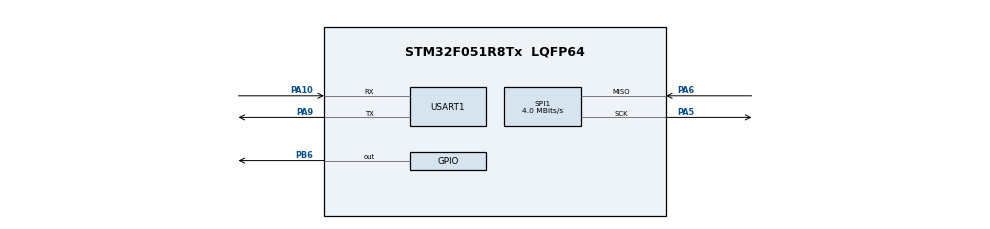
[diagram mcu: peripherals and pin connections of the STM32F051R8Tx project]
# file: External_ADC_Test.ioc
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Mcu.Family=STM32F0
Mcu.Name=STM32F051R8Tx
Mcu.Package=LQFP64
PA0.Signal=SharedAnalog_PA0
PA10.Mode=Asynchronous
PA10.Signal=USART1_RX
PA5.Mode=RX_Only_Simplex_Unidirect_Master
PA5.Signal=SPI1_SCK
PA6.Mode=RX_Only_Simplex_Unidirect_Master
PA6.Signal=SPI1_MISO
PA9.Mode=Asynchronous
PA9.Signal=USART1_TX
PB6.Signal=GPIO_Output
ProjectManager.HeapSize=0x200
ProjectManager.StackSize=0x400
ProjectManager.TargetToolchain=STM32CubeIDE
SH.SharedAnalog_PA0.0=COMP1_INM
SH.SharedAnalog_PA0.1=ADC_IN0
SPI1.CalculateBaudRate=4.0 MBits/s
SPI1.DataSize=SPI_DATASIZE_16BIT
SPI1.Direction=SPI_DIRECTION_2LINES_RXONLY
SPI1.Mode=SPI_MODE_MASTER
SPI1.VirtualType=VM_MASTER
USART1.VirtualMode-Asynchronous=VM_ASYNC
board=custom

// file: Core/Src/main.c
/* USER CODE BEGIN Header */
/**
  ******************************************************************************
  * @file           : main.c
  * @brief          : Main program body
  ******************************************************************************
  * @attention
  *
  * Copyright (c) 2023 STMicroelectronics.
  * All rights reserved.
  *
  * This software is licensed under terms that can be found in the LICENSE file
  * in the root directory of this software component.
  * If no LICENSE file comes with this software, it is provided AS-IS.
  *
  ******************************************************************************
  */
/* USER CODE END Header */
#include "main.h"

/* USER CODE BEGIN Includes */
#include <stdio.h>
#include <stdlib.h>
#include <string.h>
/* USER CODE END Includes */

SPI_HandleTypeDef hspi1;

UART_HandleTypeDef huart1;

void SystemClock_Config(void);
static void MX_GPIO_Init(void);
static void MX_SPI1_Init(void);
static void MX_USART1_UART_Init(void);

int main(void)
{
  /* USER CODE BEGIN 1 */

	const int WRITE = 0x1;
	char rawdatachar[10];
	int raw = 0;
	float rawdata = 0;
	float voltage = 0;
	char buffer[20];
	int rawbufferlength = 0;
	int voltbufferlength = 0;

  /* USER CODE END 1 */

  /* MCU Configuration--------------------------------------------------------*/

  /* Reset of all peripherals, Initializes the Flash interface and the Systick. */
  HAL_Init();

  /* Configure the system clock */
  SystemClock_Config();

  /* Initialize all configured peripherals */
  MX_GPIO_Init();
  MX_SPI1_Init();
  MX_USART1_UART_Init();

  /* Infinite loop */
  /* USER CODE BEGIN WHILE */
  while (1)
  {

	  HAL_GPIO_WritePin(GPIOB, GPIO_PIN_6, GPIO_PIN_RESET);

	  HAL_SPI_Transmit(&hspi1, (uint8_t*) &WRITE, 1, 1);
	  while (!(SPI1->SR));
	  raw = SPI1->DR;

	  HAL_GPIO_WritePin(GPIOB, GPIO_PIN_6, GPIO_PIN_SET);

	  //rawdata = atof(rawdatachar);

	  rawbufferlength = sprintf(buffer, "  Raw Value: %f\r\n", raw);
	  HAL_UART_Transmit(&huart1, (uint8_t *)buffer, rawbufferlength, 100);

	  voltage = (raw / 65536) * 5;

	  voltbufferlength = sprintf(buffer, "ADC Voltage: %f\r\n\n", voltage);
	  HAL_UART_Transmit(&huart1, (uint8_t *)buffer, voltbufferlength, 100);

	  HAL_Delay(1000);

    /* USER CODE END WHILE */

  }
}

void SystemClock_Config(void)
{
  RCC_OscInitTypeDef RCC_OscInitStruct = {0};
  RCC_ClkInitTypeDef RCC_ClkInitStruct = {0};
  RCC_PeriphCLKInitTypeDef PeriphClkInit = {0};

  /** Initializes the RCC Oscillators according to the specified parameters
  * in the RCC_OscInitTypeDef structure.
  */
  RCC_OscInitStruct.OscillatorType = RCC_OSCILLATORTYPE_HSI;
  RCC_OscInitStruct.HSIState = RCC_HSI_ON;
  RCC_OscInitStruct.HSICalibrationValue = RCC_HSICALIBRATION_DEFAULT;
  RCC_OscInitStruct.PLL.PLLState = RCC_PLL_NONE;
  if (HAL_RCC_OscConfig(&RCC_OscInitStruct) != HAL_OK)
  {
    Error_Handler();
  }

  /** Initializes the CPU, AHB and APB buses clocks
  */
  RCC_ClkInitStruct.ClockType = RCC_CLOCKTYPE_HCLK|RCC_CLOCKTYPE_SYSCLK
                              |RCC_CLOCKTYPE_PCLK1;
  RCC_ClkInitStruct.SYSCLKSource = RCC_SYSCLKSOURCE_HSI;
  RCC_ClkInitStruct.AHBCLKDivider = RCC_SYSCLK_DIV1;
  RCC_ClkInitStruct.APB1CLKDivider = RCC_HCLK_DIV1;

  if (HAL_RCC_ClockConfig(&RCC_ClkInitStruct, FLASH_LATENCY_0) != HAL_OK)
  {
    Error_Handler();
  }
  PeriphClkInit.PeriphClockSelection = RCC_PERIPHCLK_USART1;
  PeriphClkInit.Usart1ClockSelection = RCC_USART1CLKSOURCE_PCLK1;
  if (HAL_RCCEx_PeriphCLKConfig(&PeriphClkInit) != HAL_OK)
  {
    Error_Handler();
  }
}

static void MX_SPI1_Init(void)
{

  /* SPI1 parameter configuration*/
  hspi1.Instance = SPI1;
  hspi1.Init.Mode = SPI_MODE_MASTER;
  hspi1.Init.Direction = SPI_DIRECTION_2LINES_RXONLY;
  hspi1.Init.DataSize = SPI_DATASIZE_16BIT;
  hspi1.Init.CLKPolarity = SPI_POLARITY_LOW;
  hspi1.Init.CLKPhase = SPI_PHASE_1EDGE;
  hspi1.Init.NSS = SPI_NSS_SOFT;
  hspi1.Init.BaudRatePrescaler = SPI_BAUDRATEPRESCALER_2;
  hspi1.Init.FirstBit = SPI_FIRSTBIT_MSB;
  hspi1.Init.TIMode = SPI_TIMODE_DISABLE;
  hspi1.Init.CRCCalculation = SPI_CRCCALCULATION_DISABLE;
  hspi1.Init.CRCPolynomial = 7;
  hspi1.Init.CRCLength = SPI_CRC_LENGTH_DATASIZE;
  hspi1.Init.NSSPMode = SPI_NSS_PULSE_ENABLE;
  if (HAL_SPI_Init(&hspi1) != HAL_OK)
  {
    Error_Handler();
  }

}

static void MX_USART1_UART_Init(void)
{

  huart1.Instance = USART1;
  huart1.Init.BaudRate = 38400;
  huart1.Init.WordLength = UART_WORDLENGTH_8B;
  huart1.Init.StopBits = UART_STOPBITS_1;
  huart1.Init.Parity = UART_PARITY_NONE;
  huart1.Init.Mode = UART_MODE_TX_RX;
  huart1.Init.HwFlowCtl = UART_HWCONTROL_NONE;
  huart1.Init.OverSampling = UART_OVERSAMPLING_16;
  huart1.Init.OneBitSampling = UART_ONE_BIT_SAMPLE_DISABLE;
  huart1.AdvancedInit.AdvFeatureInit = UART_ADVFEATURE_NO_INIT;
  if (HAL_UART_Init(&huart1) != HAL_OK)
  {
    Error_Handler();
  }

}

static void MX_GPIO_Init(void)
{
  GPIO_InitTypeDef GPIO_InitStruct = {0};

  /* GPIO Ports Clock Enable */
  __HAL_RCC_GPIOA_CLK_ENABLE();
  __HAL_RCC_GPIOB_CLK_ENABLE();

  /*Configure GPIO pin Output Level */
  HAL_GPIO_WritePin(GPIOB, GPIO_PIN_6, GPIO_PIN_RESET);

  /*Configure GPIO pin : PA0 */
  GPIO_InitStruct.Pin = GPIO_PIN_0;
  GPIO_InitStruct.Mode = GPIO_MODE_ANALOG;
  GPIO_InitStruct.Pull = GPIO_NOPULL;
  HAL_GPIO_Init(GPIOA, &GPIO_InitStruct);

  /*Configure GPIO pin : PB6 */
  GPIO_InitStruct.Pin = GPIO_PIN_6;
  GPIO_InitStruct.Mode = GPIO_MODE_OUTPUT_PP;
  GPIO_InitStruct.Pull = GPIO_NOPULL;
  GPIO_InitStruct.Speed = GPIO_SPEED_FREQ_LOW;
  HAL_GPIO_Init(GPIOB, &GPIO_InitStruct);

}

void Error_Handler(void)
{
  __disable_irq();
  while (1)
  {
  }
}
